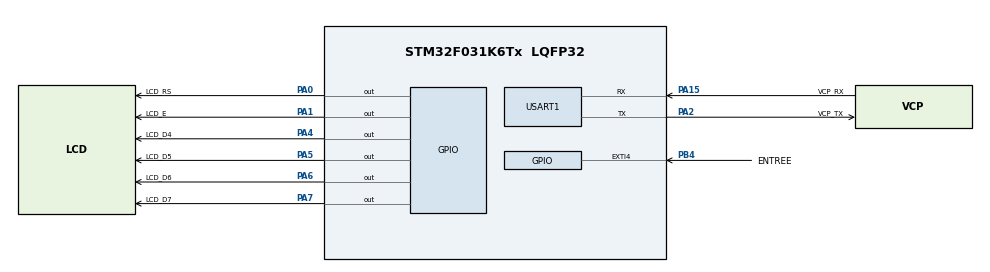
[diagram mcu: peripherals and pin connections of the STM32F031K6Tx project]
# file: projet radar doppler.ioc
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Mcu.Family=STM32F0
Mcu.Name=STM32F031K6Tx
Mcu.Package=LQFP32
NVIC.EXTI4_15_IRQn=true\:0\:0\:false\:false\:true\:true\:true\:true
PA0.GPIO_Label=LCD_RS
PA0.GPIO_Speed=GPIO_SPEED_FREQ_MEDIUM
PA0.PinState=GPIO_PIN_RESET
PA0.Signal=GPIO_Output
PA1.GPIO_Label=LCD_E
PA1.GPIO_Speed=GPIO_SPEED_FREQ_MEDIUM
PA1.PinState=GPIO_PIN_RESET
PA1.Signal=GPIO_Output
PA13.GPIO_Label=SWDIO
PA13.Mode=Serial_Wire
PA13.Signal=SYS_SWDIO
PA14.GPIO_Label=SWCLK
PA14.Mode=Serial_Wire
PA14.Signal=SYS_SWCLK
PA15.GPIO_Label=VCP_RX
PA15.Mode=Asynchronous
PA15.Signal=USART1_RX
PA2.GPIO_Label=VCP_TX
PA2.Mode=Asynchronous
PA2.Signal=USART1_TX
PA4.GPIO_Label=LCD_D4
PA4.GPIO_Speed=GPIO_SPEED_FREQ_MEDIUM
PA4.PinState=GPIO_PIN_RESET
PA4.Signal=GPIO_Output
PA5.GPIO_Label=LCD_D5
PA5.GPIO_Speed=GPIO_SPEED_FREQ_MEDIUM
PA5.PinState=GPIO_PIN_RESET
PA5.Signal=GPIO_Output
PA6.GPIO_Label=LCD_D6
PA6.GPIO_Speed=GPIO_SPEED_FREQ_MEDIUM
PA6.PinState=GPIO_PIN_RESET
PA6.Signal=GPIO_Output
PA7.GPIO_Label=LCD_D7
PA7.GPIO_Speed=GPIO_SPEED_FREQ_MEDIUM
PA7.PinState=GPIO_PIN_RESET
PA7.Signal=GPIO_Output
PB4.GPIO_Label=ENTREE
PB4.Signal=GPXTI4
PF0-OSC_IN.Mode=HSE-External-Clock-Source
PF0-OSC_IN.Signal=RCC_OSC_IN
ProjectManager.HeapSize=0x200
ProjectManager.StackSize=0x400
ProjectManager.TargetToolchain=STM32CubeIDE
TIM16.Period=65535
TIM16.Prescaler=80-1
USART1.VirtualMode-Asynchronous=VM_ASYNC
VP_TIM16_VS_ClockSourceINT.Mode=Enable_Timer
board=NUCLEO-F031K6

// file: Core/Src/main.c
/* USER CODE BEGIN Header */
/**
  ******************************************************************************
  * @file           : main.c
  * @brief          : Main program body
  ******************************************************************************
  * @attention
  *
  * Copyright (c) 2024 STMicroelectronics.
  * All rights reserved.
  *
  * This software is licensed under terms that can be found in the LICENSE file
  * in the root directory of this software component.
  * If no LICENSE file comes with this software, it is provided AS-IS.
  *
  ******************************************************************************
  */
/* USER CODE END Header */
#include "main.h"

/* USER CODE BEGIN Includes */
#include "lcd16x2.h"
/* USER CODE END Includes */

TIM_HandleTypeDef htim16;

UART_HandleTypeDef huart1;

/* USER CODE BEGIN PV */

//uint16_t temps_precedent;
//uint16_t temps_actuel;

int nombrePeriodeCompte = 0;
// permet de garder le compt des periodes et savoir quand on atteind nombrePeriodesMax

int nombrePeriodesMax = 3; // on compte sur 3 periodes

int pertPourAfficher = 0; // 0 si on prend des valeurs,
// 1 si on affiche, permet de ne pas changer des variables utlisée dans le main pendant qu'on les utilisent

double coef = 0.015; // coefficient egale a c/(2*f)

// conteur pour les temps des periodes
// timer : 1tic = 1 microsec 10^-6
uint16_t tempsPeriodes;
uint16_t tempsDernierePeriode;

/* USER CODE END PV */

void SystemClock_Config(void);
static void MX_GPIO_Init(void);
static void MX_USART1_UART_Init(void);
static void MX_TIM16_Init(void);

/* USER CODE BEGIN 0 */

void HAL_GPIO_EXTI_Callback(uint16_t GPIO_Pin)
{ // on vérifie que l'interuption vient bien de la bonne entrée
    if (GPIO_Pin == ENTREE_Pin){

    	// on vérifie que les valeurs ne sont pas prettent à être affichée.
    	if (pertPourAfficher == 0){

    		// on recupère la valeur du timer
    		tempsDernierePeriode = __HAL_TIM_GET_COUNTER(&htim16);

    		// on remet le timer a 0 pour la prochaine prise de valeur
    	    __HAL_TIM_SET_COUNTER(&htim16, 0);

    	    // si on a pris la 1er valeur, elle n'est pas cohérente, on ne la garde pas
    	    if (nombrePeriodeCompte == -1){
    	       	nombrePeriodeCompte ++;
    	    }
    	    else{// on recupère la valeur
    	    	nombrePeriodeCompte ++; // on a une période de plus de comptée
    	    	tempsPeriodes += tempsDernierePeriode; // le temps de toutes les périodes est incrémenté

    	    	// si on a compté nombrePeriodesMax période on envoie le signal pour afficher
    	    	// et on arrête de compter
    	    	if (nombrePeriodeCompte >= nombrePeriodesMax){
    	    		nombrePeriodeCompte = -1;
    	    		pertPourAfficher = 1;
    	    	}
    	    }
    	}
    }
}

/* USER CODE END 0 */

int main(void)
{

  /* MCU Configuration--------------------------------------------------------*/

  /* Reset of all peripherals, Initializes the Flash interface and the Systick. */
  HAL_Init();

  /* Configure the system clock */
  SystemClock_Config();

  /* Initialize all configured peripherals */
  MX_GPIO_Init();
  MX_USART1_UART_Init();
  MX_TIM16_Init();
  /* USER CODE BEGIN 2 */

  HAL_TIM_Base_Start(&htim16);

  // initialisation de l'afficheur à LED
  lcd16x2_init_4bits(LCD_RS_GPIO_Port, LCD_RS_Pin, LCD_E_Pin,
  		  	  LCD_D4_GPIO_Port, LCD_D4_Pin, LCD_D5_Pin, LCD_D6_Pin, LCD_D7_Pin);

  lcd16x2_cursorShow(0);
  lcd16x2_clear();
  lcd16x2_setCursor(0,0);
  lcd16x2_printf("Radar Doppler");
  lcd16x2_setCursor(1, 0);
  lcd16x2_printf("Group - B");
  HAL_Delay(1000);
  lcd16x2_clear();

  double vitessePrecedente = 0;
  int nombrePasse = 0;
  double vitessekmh;
  /* USER CODE END 2 */

  /* Infinite loop */
  /* USER CODE BEGIN WHILE */
  while (1)
  {
	  // si on doit afficher
	  if (pertPourAfficher == 1){
		  // calcule de la vitesse

		  // de face
		  //double vitesse = (double)100000. * coef * nombrePeriodesMax / tempsPeriodes;

		  // angle de 30°
		  double vitesse = (double)100000. * coef * 0.866 * nombrePeriodesMax / tempsPeriodes;

		  // angle de 45°
		  //double vitesse = (double)100000. * coef * 0.71 * nombrePeriodesMax / tempsPeriodes;

		  // on relance l'aquisition
		  tempsPeriodes = 0;
		  nombrePeriodeCompte = -1;
		  pertPourAfficher = 0;
		  // on verifie que la vitesse n'est pas trop basse
		  if ((vitesse >= 1.)&&(vitesse >= vitessePrecedente)){
			  vitessekmh = vitesse * 3.6;
			  // on affiche la vitesse
			  lcd16x2_clear();
			  lcd16x2_setCursor(0,0);
			  lcd16x2_printf("%.2f km.h^-1", (float)vitessekmh);
			  lcd16x2_setCursor(1, 0);
			  lcd16x2_printf("%.2f m.s^-1", (float)vitesse);

			  vitessePrecedente = vitesse;
		  }
		  else {
			  nombrePasse ++;
			  if (nombrePasse >= 1){
				  vitessePrecedente = 0;
				  nombrePasse =0;
			  }
		  }
		  // on attend 500 millisecondes pour eviter que l'ecrant clignotte trop
		  HAL_Delay(500);
	  }

    /* USER CODE END WHILE */

  }
}

void SystemClock_Config(void)
{
  RCC_OscInitTypeDef RCC_OscInitStruct = {0};
  RCC_ClkInitTypeDef RCC_ClkInitStruct = {0};
  RCC_PeriphCLKInitTypeDef PeriphClkInit = {0};

  /** Initializes the RCC Oscillators according to the specified parameters
  * in the RCC_OscInitTypeDef structure.
  */
  RCC_OscInitStruct.OscillatorType = RCC_OSCILLATORTYPE_HSI;
  RCC_OscInitStruct.HSIState = RCC_HSI_ON;
  RCC_OscInitStruct.HSICalibrationValue = RCC_HSICALIBRATION_DEFAULT;
  RCC_OscInitStruct.PLL.PLLState = RCC_PLL_NONE;
  if (HAL_RCC_OscConfig(&RCC_OscInitStruct) != HAL_OK)
  {
    Error_Handler();
  }

  /** Initializes the CPU, AHB and APB buses clocks
  */
  RCC_ClkInitStruct.ClockType = RCC_CLOCKTYPE_HCLK|RCC_CLOCKTYPE_SYSCLK
                              |RCC_CLOCKTYPE_PCLK1;
  RCC_ClkInitStruct.SYSCLKSource = RCC_SYSCLKSOURCE_HSI;
  RCC_ClkInitStruct.AHBCLKDivider = RCC_SYSCLK_DIV1;
  RCC_ClkInitStruct.APB1CLKDivider = RCC_HCLK_DIV1;

  if (HAL_RCC_ClockConfig(&RCC_ClkInitStruct, FLASH_LATENCY_0) != HAL_OK)
  {
    Error_Handler();
  }
  PeriphClkInit.PeriphClockSelection = RCC_PERIPHCLK_USART1;
  PeriphClkInit.Usart1ClockSelection = RCC_USART1CLKSOURCE_PCLK1;
  if (HAL_RCCEx_PeriphCLKConfig(&PeriphClkInit) != HAL_OK)
  {
    Error_Handler();
  }
}

static void MX_TIM16_Init(void)
{

  htim16.Instance = TIM16;
  htim16.Init.Prescaler = 80-1;
  htim16.Init.CounterMode = TIM_COUNTERMODE_UP;
  htim16.Init.Period = 65535;
  htim16.Init.ClockDivision = TIM_CLOCKDIVISION_DIV1;
  htim16.Init.RepetitionCounter = 0;
  htim16.Init.AutoReloadPreload = TIM_AUTORELOAD_PRELOAD_DISABLE;
  if (HAL_TIM_Base_Init(&htim16) != HAL_OK)
  {
    Error_Handler();
  }

}

static void MX_USART1_UART_Init(void)
{

  huart1.Instance = USART1;
  huart1.Init.BaudRate = 38400;
  huart1.Init.WordLength = UART_WORDLENGTH_8B;
  huart1.Init.StopBits = UART_STOPBITS_1;
  huart1.Init.Parity = UART_PARITY_NONE;
  huart1.Init.Mode = UART_MODE_TX_RX;
  huart1.Init.HwFlowCtl = UART_HWCONTROL_NONE;
  huart1.Init.OverSampling = UART_OVERSAMPLING_16;
  huart1.Init.OneBitSampling = UART_ONE_BIT_SAMPLE_DISABLE;
  huart1.AdvancedInit.AdvFeatureInit = UART_ADVFEATURE_NO_INIT;
  if (HAL_UART_Init(&huart1) != HAL_OK)
  {
    Error_Handler();
  }

}

static void MX_GPIO_Init(void)
{
  GPIO_InitTypeDef GPIO_InitStruct = {0};

  /* GPIO Ports Clock Enable */
  __HAL_RCC_GPIOF_CLK_ENABLE();
  __HAL_RCC_GPIOA_CLK_ENABLE();
  __HAL_RCC_GPIOB_CLK_ENABLE();

  /*Configure GPIO pin Output Level */
  HAL_GPIO_WritePin(GPIOA, LCD_RS_Pin|LCD_E_Pin|LCD_D4_Pin|LCD_D5_Pin
                          |LCD_D6_Pin|LCD_D7_Pin, GPIO_PIN_RESET);

  /*Configure GPIO pins : LCD_RS_Pin LCD_E_Pin LCD_D4_Pin LCD_D5_Pin
                           LCD_D6_Pin LCD_D7_Pin */
  GPIO_InitStruct.Pin = LCD_RS_Pin|LCD_E_Pin|LCD_D4_Pin|LCD_D5_Pin
                          |LCD_D6_Pin|LCD_D7_Pin;
  GPIO_InitStruct.Mode = GPIO_MODE_OUTPUT_PP;
  GPIO_InitStruct.Pull = GPIO_NOPULL;
  GPIO_InitStruct.Speed = GPIO_SPEED_FREQ_MEDIUM;
  HAL_GPIO_Init(GPIOA, &GPIO_InitStruct);

  /*Configure GPIO pin : ENTREE_Pin */
  GPIO_InitStruct.Pin = ENTREE_Pin;
  GPIO_InitStruct.Mode = GPIO_MODE_IT_RISING;
  GPIO_InitStruct.Pull = GPIO_NOPULL;
  HAL_GPIO_Init(ENTREE_GPIO_Port, &GPIO_InitStruct);

  /* EXTI interrupt init*/
  HAL_NVIC_SetPriority(EXTI4_15_IRQn, 0, 0);
  HAL_NVIC_EnableIRQ(EXTI4_15_IRQn);

}

void Error_Handler(void)
{
  __disable_irq();
  while (1)
  {
  }
}
